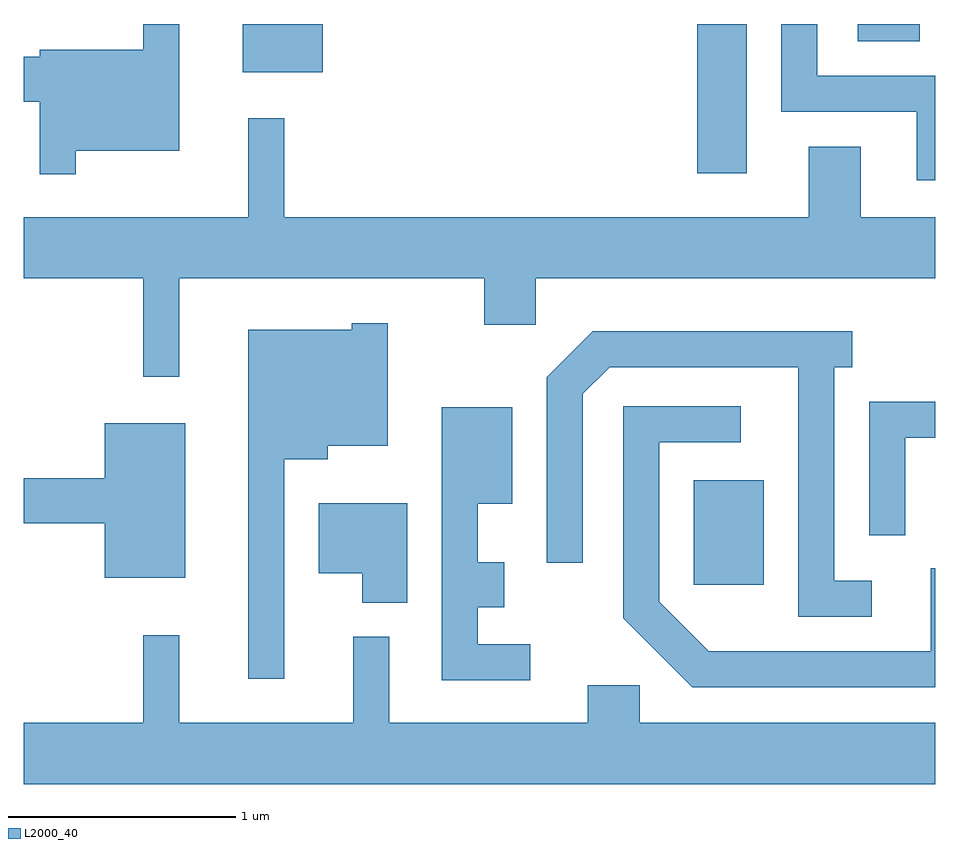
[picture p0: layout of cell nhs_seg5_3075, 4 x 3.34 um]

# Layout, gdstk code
import gdstk
lib = gdstk.Library(unit=1e-6, precision=1e-09)
def R(c, l, rs):  # rectangles x0, y0, x1, y1
    for r in rs: c.add(gdstk.rectangle(r[:2], r[2:], *l))
def P(c, l, *ps):  # polygons
    for p in ps: c.add(gdstk.Polygon(p, *l))
L2000_40 = (2000, 40)

nhs_seg5_3075 = lib.new_cell('nhs_seg5_3075')
R(nhs_seg5_3075, L2000_40, [(278.551,1517.611,278.859,1518.069), (278.566,1519.416,278.784,1520.072), (276.571,1519.861,276.924,1520.072), (279.271,1519.996,279.544,1520.072)])
P(nhs_seg5_3075, L2000_40, [(279.611,1519.844),(279.094,1519.844),(279.094,1520.072),(278.936,1520.072),(278.936,1519.686),(279.531,1519.686),(279.531,1519.386),(279.611,1519.386)],
  [(275.839,1519.516),(276.294,1519.516),(276.294,1520.072),(276.136,1520.072),(276.136,1519.959),(275.681,1519.959),(275.681,1519.929),(275.611,1519.929),(275.611,1519.731),(275.681,1519.731),(275.681,1519.413),(275.839,1519.413)],
  [(276.294,1518.956),(277.631,1518.956),(277.631,1518.751),(277.859,1518.751),(277.859,1518.956),(279.611,1518.956),(279.611,1519.224),(279.284,1519.224),(279.284,1519.534),(279.056,1519.534),(279.056,1519.224),(276.754,1519.224),(276.754,1519.658),(276.596,1519.658),(276.596,1519.224),(275.611,1519.224),(275.611,1518.956),(276.136,1518.956),(276.136,1518.523),(276.294,1518.523)],
  [(276.754,1518.161),(276.944,1518.161),(276.944,1518.221),(277.209,1518.221),(277.209,1518.759),(277.051,1518.759),(277.051,1518.729),(276.596,1518.729),(276.596,1517.198),(276.754,1517.198)],
  [(279.333,1517.629),(279.169,1517.629),(279.169,1518.566),(279.248,1518.566),(279.248,1518.724),(278.109,1518.724),(277.906,1518.522),(277.906,1517.708),(278.064,1517.708),(278.064,1518.449),(278.182,1518.566),(279.011,1518.566),(279.011,1517.471),(279.333,1517.471)],
  [(279.479,1518.256),(279.611,1518.256),(279.611,1518.414),(279.321,1518.414),(279.321,1517.828),(279.479,1517.828)],
  [(279.611,1517.684),(279.591,1517.684),(279.591,1517.319),(278.617,1517.319),(278.399,1517.537),(278.399,1518.236),(278.758,1518.236),(278.758,1518.394),(278.241,1518.394),(278.241,1517.464),(278.544,1517.161),(279.611,1517.161)],
  [(277.833,1517.349),(277.604,1517.349),(277.604,1517.511),(277.719,1517.511),(277.719,1517.709),(277.604,1517.709),(277.604,1517.966),(277.754,1517.966),(277.754,1518.389),(277.446,1518.389),(277.446,1517.191),(277.833,1517.191)],
  [(276.319,1518.319),(275.966,1518.319),(275.966,1518.079),(275.611,1518.079),(275.611,1517.881),(275.966,1517.881),(275.966,1517.641),(276.319,1517.641)],
  [(277.294,1517.969),(276.906,1517.969),(276.906,1517.661),(277.096,1517.661),(277.096,1517.531),(277.294,1517.531)],
  [(279.611,1517.004),(278.314,1517.004),(278.314,1517.169),(278.086,1517.169),(278.086,1517.004),(277.214,1517.004),(277.214,1517.383),(277.056,1517.383),(277.056,1517.004),(276.294,1517.004),(276.294,1517.388),(276.136,1517.388),(276.136,1517.004),(275.611,1517.004),(275.611,1516.736),(279.611,1516.736)])

lib.write_gds('nhs_seg5_3075.gds')
